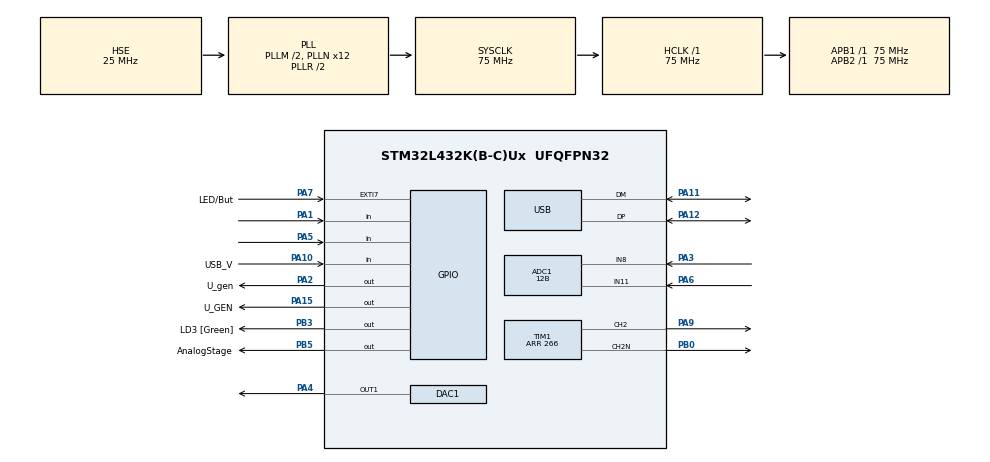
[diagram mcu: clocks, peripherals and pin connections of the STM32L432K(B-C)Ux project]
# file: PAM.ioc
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ADC1.ClockPrescaler=ADC_CLOCK_SYNC_PCLK_DIV4
ADC1.ContinuousConvMode=DISABLE
ADC1.DMAContinuousRequests=DISABLE
ADC1.DataAlign=ADC_DATAALIGN_RIGHT
ADC1.DiscontinuousConvMode=DISABLE
ADC1.EOCSelection=ADC_EOC_SEQ_CONV
ADC1.EnableAnalogWatchDog1=false
ADC1.EnableAnalogWatchDog2=false
ADC1.EnableAnalogWatchDog3=false
ADC1.EnableInjectedConversion=ENABLE
ADC1.EnableInjectedOversampling=DISABLE
ADC1.EnableRegularConversion=DISABLE
ADC1.ExternalTrigInjecConv=ADC_EXTERNALTRIGINJEC_T6_TRGO
ADC1.ExternalTrigInjecConvEdge=ADC_EXTERNALTRIGINJECCONV_EDGE_RISING
ADC1.InjNumberOfConversion=2
ADC1.InjectedChannel-1\#ChannelInjectedConversion=ADC_CHANNEL_8
ADC1.InjectedChannel-2\#ChannelInjectedConversion=ADC_CHANNEL_11
ADC1.InjectedConvMode=None
ADC1.InjectedOffsetNumber-1\#ChannelInjectedConversion=ADC_OFFSET_NONE
ADC1.InjectedOffsetNumber-2\#ChannelInjectedConversion=ADC_OFFSET_NONE
ADC1.InjectedQueue=DISABLE
ADC1.InjectedRank-1\#ChannelInjectedConversion=1
ADC1.InjectedRank-2\#ChannelInjectedConversion=2
ADC1.InjectedSamplingTime-1\#ChannelInjectedConversion=ADC_SAMPLETIME_24CYCLES_5
ADC1.InjectedSamplingTime-2\#ChannelInjectedConversion=ADC_SAMPLETIME_24CYCLES_5
ADC1.LowPowerAutoWait=DISABLE
ADC1.Overrun=ADC_OVR_DATA_PRESERVED
ADC1.OversamplingMode=DISABLE
ADC1.QueueInjectedContext=DISABLE
ADC1.Resolution=ADC_RESOLUTION_12B
ADC1.ScanConvMode=ADC_SCAN_ENABLE
ADC1.master=1
Dma.MEMTOMEM.0.Direction=DMA_MEMORY_TO_MEMORY
Dma.MEMTOMEM.0.Instance=DMA1_Channel1
Dma.MEMTOMEM.0.MemDataAlignment=DMA_MDATAALIGN_WORD
Dma.MEMTOMEM.0.MemInc=DMA_MINC_ENABLE
Dma.MEMTOMEM.0.Mode=DMA_NORMAL
Dma.MEMTOMEM.0.PeriphDataAlignment=DMA_PDATAALIGN_WORD
Dma.MEMTOMEM.0.PeriphInc=DMA_PINC_ENABLE
Dma.MEMTOMEM.0.Priority=DMA_PRIORITY_HIGH
Dma.MEMTOMEM.1.Direction=DMA_MEMORY_TO_MEMORY
Dma.MEMTOMEM.1.Instance=DMA1_Channel2
Dma.MEMTOMEM.1.MemDataAlignment=DMA_MDATAALIGN_WORD
Dma.MEMTOMEM.1.MemInc=DMA_MINC_ENABLE
Dma.MEMTOMEM.1.Mode=DMA_NORMAL
Dma.MEMTOMEM.1.PeriphDataAlignment=DMA_PDATAALIGN_WORD
Dma.MEMTOMEM.1.PeriphInc=DMA_PINC_ENABLE
Dma.MEMTOMEM.1.Priority=DMA_PRIORITY_HIGH
Dma.Request0=MEMTOMEM
Dma.Request1=MEMTOMEM
Mcu.Family=STM32L4
Mcu.Name=STM32L432K(B-C)Ux
Mcu.Package=UFQFPN32
NVIC.ADC1_IRQn=true\:5\:0\:true\:false\:true\:true
NVIC.EXTI9_5_IRQn=true\:0\:0\:false\:false\:true\:true
NVIC.PriorityGroup=NVIC_PRIORITYGROUP_4
NVIC.RTC_Alarm_IRQn=true\:7\:0\:true\:false\:true\:true
NVIC.TIM1_BRK_TIM15_IRQn=true\:0\:0\:true\:false\:true\:true
NVIC.TIM6_DAC_IRQn=true\:6\:0\:true\:false\:true\:true
NVIC.TIM7_IRQn=true\:0\:0\:true\:false\:true\:true
NVIC.TimeBase=TIM7_IRQn
NVIC.TimeBaseIP=TIM7
NVIC.USB_IRQn=true\:7\:0\:true\:false\:true\:true
PA0.GPIO_Label=MCO [High speed clock in]
PA0.Mode=HSE-External-Clock-Source-for-LittleOrca
PA0.Signal=RCC_CK_IN
PA1.Signal=GPIO_Input
PA10.GPIO_Label=USB_V
PA10.GPIO_PuPd=GPIO_PULLDOWN
PA10.Signal=GPIO_Input
PA11.Mode=Device
PA11.Signal=USB_DM
PA12.Mode=Device
PA12.Signal=USB_DP
PA13\ (JTMS-SWDIO).GPIO_Label=SWDIO
PA13\ (JTMS-SWDIO).Mode=Serial_Wire
PA13\ (JTMS-SWDIO).Signal=SYS_JTMS-SWDIO
PA14\ (JTCK-SWCLK).GPIO_Label=SWCLK
PA14\ (JTCK-SWCLK).Mode=Serial_Wire
PA14\ (JTCK-SWCLK).Signal=SYS_JTCK-SWCLK
PA15\ (JTDI).GPIO_Label=U_GEN
PA15\ (JTDI).GPIO_Speed=GPIO_SPEED_FREQ_VERY_HIGH
PA15\ (JTDI).Signal=GPIO_Output
PA2.GPIO_Label=U_gen
PA2.PinState=GPIO_PIN_SET
PA2.Signal=GPIO_Output
PA3.Signal=ADCx_IN8
PA4.Signal=COMP_DAC11_group
PA5.Signal=GPIO_Input
PA6.Signal=ADCx_IN11
PA7.GPIO_Label=LED/But
PA7.GPIO_ModeDefaultEXTI=GPIO_MODE_IT_FALLING
PA7.GPIO_PuPd=GPIO_PULLUP
PA7.Signal=GPXTI7
PA9.GPIO_Speed=GPIO_SPEED_FREQ_VERY_HIGH
PA9.Signal=S_TIM1_CH2
PB0.GPIO_Speed=GPIO_SPEED_FREQ_VERY_HIGH
PB0.Mode=PWM Generation2 CH2 CH2N
PB0.Signal=TIM1_CH2N
PB3\ (JTDO-TRACESWO).GPIO_Label=LD3 [Green]
PB3\ (JTDO-TRACESWO).GPIO_Speed=GPIO_SPEED_FREQ_VERY_HIGH
PB3\ (JTDO-TRACESWO).Signal=GPIO_Output
PB5.GPIO_Label=AnalogStage
PB5.Signal=GPIO_Output
PC14-OSC32_IN\ (PC14).Signal=RCC_OSC32_IN
PC15-OSC32_OUT\ (PC15).Signal=RCC_OSC32_OUT
ProjectManager.HeapSize=0x200
ProjectManager.StackSize=0x200
ProjectManager.TargetToolchain=MDK-ARM V5
RCC.ADCCLockSelection=RCC_ADCCLKSOURCE_SYSCLK
RCC.ADCFreq_Value=75000000
RCC.AHBFreq_Value=75000000
RCC.APB1Freq_Value=75000000
RCC.APB1TimFreq_Value=75000000
RCC.APB2Freq_Value=75000000
RCC.APB2TimFreq_Value=75000000
RCC.CK48CLockSelection=RCC_USBCLKSOURCE_HSI48
RCC.CortexFreq_Value=75000000
RCC.HCLKFreq_Value=75000000
RCC.HSE_VALUE=25000000
RCC.HSI16_VALUE=16000000
RCC.HSI48_VALUE=48000000
RCC.HSI_VALUE=16000000
RCC.LSE_VALUE=32768
RCC.MSI_VALUE=4000000
RCC.PLLM=2
RCC.PLLMUL=RCC_PLLMUL_4
RCC.PLLN=12
RCC.PLLSourceVirtual=RCC_PLLSOURCE_HSE
RCC.RCC_MCODiv=RCC_MCODIV_16
RCC.RTCClockSelection=RCC_RTCCLKSOURCE_HSE_DIV32
RCC.SYSCLKFreq_VALUE=75000000
RCC.SYSCLKSource=RCC_SYSCLKSOURCE_PLLCLK
RCC.USBFreq_Value=48000000
RCC.VCOOutputFreq_Value=150000000
RTC.Alarm=RTC_ALARM_A
RTC.AsynchPrediv=124
RTC.Format=RTC_FORMAT_BCD
RTC.Month=RTC_MONTH_JANUARY
RTC.StoreOperation=RTC_STOREOPERATION_SET
RTC.SynchPrediv=6249
RTC.Year=0
SH.ADCx_IN11.0=ADC1_IN11,IN11-Single-Ended
SH.ADCx_IN8.0=ADC1_IN8,IN8-Single-Ended
SH.COMP_DAC11_group.0=DAC1_OUT1,DAC_OUT1
SH.S_TIM1_CH2.0=TIM1_CH2,PWM Generation2 CH2 CH2N
TIM1.AutomaticOutput=TIM_AUTOMATICOUTPUT_DISABLE
TIM1.Channel-PWM\ Generation2\ CH2\ CH2N=TIM_CHANNEL_2
TIM1.DeadTime=2
TIM1.OCIdleState_2=TIM_OCIDLESTATE_RESET
TIM1.Period=266
TIM1.Pulse-PWM\ Generation2\ CH2\ CH2N=133
TIM6.Period=2499
TIM6.TIM_MasterOutputTrigger=TIM_TRGO_UPDATE
USB.battery_charging_enable=DISABLE
USB_DEVICE.CLASS_NAME_FS=CDC
USB_DEVICE.VirtualMode=Cdc
USB_DEVICE.VirtualModeFS=Cdc_FS
VP_IWDG_VS_IWDG.Mode=IWDG_Activate
VP_RTC_VS_RTC_Activate.Mode=RTC_Enabled
VP_RTC_VS_RTC_Alarm_A_Intern.Mode=Alarm A
VP_RTC_VS_RTC_Calendar.Mode=RTC_Calendar
VP_SYS_VS_tim7.Mode=TIM7
VP_TIM1_VS_ClockSourceINT.Mode=Internal
VP_TIM6_VS_ClockSourceINT.Mode=Enable_Timer
VP_USB_DEVICE_VS_USB_DEVICE_CDC_FS.Mode=CDC_FS
board=NUCLEO-L432KC

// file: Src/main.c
/**
  ******************************************************************************
  * @file           : main.c
  * @brief          : Main program body
  ******************************************************************************
  * This notice applies to any and all portions of this file
  * that are not between comment pairs USER CODE BEGIN and
  * USER CODE END. Other portions of this file, whether
  * inserted by the user or by software development tools
  * are owned by their respective copyright owners.
  *
  * Copyright (c) 2018 STMicroelectronics International N.V.
  * All rights reserved.
  *
  * Redistribution and use in source and binary forms, with or without
  * modification, are permitted, provided that the following conditions are met:
  *
  * 1. Redistribution of source code must retain the above copyright notice,
  *    this list of conditions and the following disclaimer.
  * 2. Redistributions in binary form must reproduce the above copyright notice,
  *    this list of conditions and the following disclaimer in the documentation
  *    and/or other materials provided with the distribution.
  * 3. Neither the name of STMicroelectronics nor the names of other
  *    contributors to this software may be used to endorse or promote products
  *    derived from this software without specific written permission.
  * 4. This software, including modifications and/or derivative works of this
  *    software, must execute solely and exclusively on microcontroller or
  *    microprocessor devices manufactured by or for STMicroelectronics.
  * 5. Redistribution and use of this software other than as permitted under
  *    this license is void and will automatically terminate your rights under
  *    this license.
  *
  * THIS SOFTWARE IS PROVIDED BY STMICROELECTRONICS AND CONTRIBUTORS "AS IS"
  * AND ANY EXPRESS, IMPLIED OR STATUTORY WARRANTIES, INCLUDING, BUT NOT
  * LIMITED TO, THE IMPLIED WARRANTIES OF MERCHANTABILITY, FITNESS FOR A
  * PARTICULAR PURPOSE AND NON-INFRINGEMENT OF THIRD PARTY INTELLECTUAL PROPERTY
  * RIGHTS ARE DISCLAIMED TO THE FULLEST EXTENT PERMITTED BY LAW. IN NO EVENT
  * SHALL STMICROELECTRONICS OR CONTRIBUTORS BE LIABLE FOR ANY DIRECT, INDIRECT,
  * INCIDENTAL, SPECIAL, EXEMPLARY, OR CONSEQUENTIAL DAMAGES (INCLUDING, BUT NOT
  * LIMITED TO, PROCUREMENT OF SUBSTITUTE GOODS OR SERVICES; LOSS OF USE, DATA,
  * OR PROFITS; OR BUSINESS INTERRUPTION) HOWEVER CAUSED AND ON ANY THEORY OF
  * LIABILITY, WHETHER IN CONTRACT, STRICT LIABILITY, OR TORT (INCLUDING
  * NEGLIGENCE OR OTHERWISE) ARISING IN ANY WAY OUT OF THE USE OF THIS SOFTWARE,
  * EVEN IF ADVISED OF THE POSSIBILITY OF SUCH DAMAGE.
  *
  ******************************************************************************
  */
#include "main.h"
#include "stm32l4xx_hal.h"
#include "usb_device.h"

/* USER CODE BEGIN Includes */
#include "cmsis_os2.h"                   // ARM::CMSIS:RTOS:FreeRTOS

/* USER CODE END Includes */

ADC_HandleTypeDef hadc1;

DAC_HandleTypeDef hdac1;

IWDG_HandleTypeDef hiwdg;

RTC_HandleTypeDef hrtc;

TIM_HandleTypeDef htim1;
TIM_HandleTypeDef htim6;

DMA_HandleTypeDef hdma_memtomem_dma1_channel1;
DMA_HandleTypeDef hdma_memtomem_dma1_channel2;

/* USER CODE BEGIN PV */
/* Private variables ---------------------------------------------------------*/
osThreadId_t defaultTaskHandle;
osThreadId_t Mode1Handle;
osThreadId_t Mode2Handle;
osThreadId_t ModeRxTxHandle;
osThreadId_t LedToggleHandle;
osThreadId_t ButtonThreadHandle;
//osThreadId_t iwdgThreadHandle;
osSemaphoreId_t rtcIRQHandle;
osSemaphoreId_t adcHandle;
osSemaphoreId_t ButtonHandle;
osMessageQueueId_t  adcQueueHandle;

void StartDefaultTask(void * argument);
void eMode1(void * argument);
void eMode2(void * argument);
void eModeRxTx(void * argument);
void eLedToggle(void * argument);
void eButtonThread(void * argument);
void iwdgThread(void * argument);
/* USER CODE END PV */

void SystemClock_Config(void);
static void MX_GPIO_Init(void);
static void MX_DMA_Init(void);
void MX_ADC1_Init(void);
void MX_TIM1_Init(void);
void MX_RTC_Init(void);
void MX_TIM6_Init(void);
void MX_DAC1_Init(void);
void MX_IWDG_Init(void);

void HAL_TIM_MspPostInit(TIM_HandleTypeDef *htim);

/* USER CODE BEGIN PFP */
/* Private function prototypes -----------------------------------------------*/

/* USER CODE END PFP */

int main(void)
{
  /* USER CODE BEGIN 1 */
  //EventRecorderInitialize (EventRecordAll, 1);  // initialize and start Event Recorder
  MX_GPIO_Init();
  /* USER CODE END 1 */

  /* MCU Configuration----------------------------------------------------------*/

  /* Reset of all peripherals, Initializes the Flash interface and the Systick. */
  HAL_Init();

  /* Configure the system clock */
  SystemClock_Config();

  /* Initialize all configured peripherals */
  MX_GPIO_Init();
  MX_DMA_Init();
  MX_ADC1_Init();
  MX_TIM1_Init();
  MX_RTC_Init();
  MX_TIM6_Init();
  MX_DAC1_Init();
  //MX_IWDG_Init();
  /* USER CODE BEGIN 2 */
  osKernelInitialize();
  osThreadAttr_t worker_attr;
  memset(&worker_attr, 0, sizeof(worker_attr));
  worker_attr.stack_size = 800;
  osSemaphoreAttr_t sematr;
  memset(&sematr, 0, sizeof(sematr));

  defaultTaskHandle = osThreadNew(StartDefaultTask, NULL, &worker_attr);
  worker_attr.priority = osPriorityHigh ;
  Mode1Handle = osThreadNew(eMode1, NULL, &worker_attr);
  Mode2Handle = osThreadNew(eMode2, NULL, &worker_attr);
  ModeRxTxHandle = osThreadNew(eModeRxTx, NULL, &worker_attr);
  LedToggleHandle = osThreadNew(eLedToggle, NULL, &worker_attr);
  ButtonThreadHandle = osThreadNew(eButtonThread, NULL, &worker_attr);
  worker_attr.priority =  osPriorityLow;
  //iwdgThreadHandle = osThreadNew(iwdgThread, NULL, &worker_attr);
  sematr.name = "rtcSem";
  rtcIRQHandle = osSemaphoreNew(1,0,&sematr) ;
  sematr.name = "adcSem";
  adcHandle = osSemaphoreNew(1,0,&sematr);
  sematr.name = "ButtonSem";
  ButtonHandle = osSemaphoreNew(1,0,&sematr);
  adcQueueHandle = osMessageQueueNew(50,sizeof(uint16_t), NULL);
  //__HAL_IWDG_START(&hiwdg);
  HAL_IWDG_Refresh(&hiwdg);
  if (osKernelGetState() == osKernelReady)
  {
    osKernelStart();
  }
  /* USER CODE END 2 */

  /* Infinite loop */
  while (1)
  {

  }

}

void SystemClock_Config(void)
{

  RCC_OscInitTypeDef RCC_OscInitStruct;
  RCC_ClkInitTypeDef RCC_ClkInitStruct;
  RCC_PeriphCLKInitTypeDef PeriphClkInit;

    /**Initializes the CPU, AHB and APB busses clocks
    */
  RCC_OscInitStruct.OscillatorType = RCC_OSCILLATORTYPE_HSI48|RCC_OSCILLATORTYPE_LSI
                              |RCC_OSCILLATORTYPE_HSE;
  RCC_OscInitStruct.HSEState = RCC_HSE_BYPASS;
  RCC_OscInitStruct.HSI48State = RCC_HSI48_ON;
  RCC_OscInitStruct.LSIState = RCC_LSI_ON;
  RCC_OscInitStruct.PLL.PLLState = RCC_PLL_ON;
  RCC_OscInitStruct.PLL.PLLSource = RCC_PLLSOURCE_HSE;
  RCC_OscInitStruct.PLL.PLLM = 2;
  RCC_OscInitStruct.PLL.PLLN = 12;
  RCC_OscInitStruct.PLL.PLLP = RCC_PLLP_DIV7;
  RCC_OscInitStruct.PLL.PLLQ = RCC_PLLQ_DIV2;
  RCC_OscInitStruct.PLL.PLLR = RCC_PLLR_DIV2;
  if (HAL_RCC_OscConfig(&RCC_OscInitStruct) != HAL_OK)
  {
    _Error_Handler(__FILE__, __LINE__);
  }

    /**Initializes the CPU, AHB and APB busses clocks
    */
  RCC_ClkInitStruct.ClockType = RCC_CLOCKTYPE_HCLK|RCC_CLOCKTYPE_SYSCLK
                              |RCC_CLOCKTYPE_PCLK1|RCC_CLOCKTYPE_PCLK2;
  RCC_ClkInitStruct.SYSCLKSource = RCC_SYSCLKSOURCE_PLLCLK;
  RCC_ClkInitStruct.AHBCLKDivider = RCC_SYSCLK_DIV1;
  RCC_ClkInitStruct.APB1CLKDivider = RCC_HCLK_DIV1;
  RCC_ClkInitStruct.APB2CLKDivider = RCC_HCLK_DIV1;

  if (HAL_RCC_ClockConfig(&RCC_ClkInitStruct, FLASH_LATENCY_4) != HAL_OK)
  {
    _Error_Handler(__FILE__, __LINE__);
  }

  PeriphClkInit.PeriphClockSelection = RCC_PERIPHCLK_RTC|RCC_PERIPHCLK_USB
                              |RCC_PERIPHCLK_ADC;
  PeriphClkInit.AdcClockSelection = RCC_ADCCLKSOURCE_SYSCLK;
  PeriphClkInit.RTCClockSelection = RCC_RTCCLKSOURCE_HSE_DIV32;
  PeriphClkInit.UsbClockSelection = RCC_USBCLKSOURCE_HSI48;
  if (HAL_RCCEx_PeriphCLKConfig(&PeriphClkInit) != HAL_OK)
  {
    _Error_Handler(__FILE__, __LINE__);
  }

    /**Configure the main internal regulator output voltage
    */
  if (HAL_PWREx_ControlVoltageScaling(PWR_REGULATOR_VOLTAGE_SCALE1) != HAL_OK)
  {
    _Error_Handler(__FILE__, __LINE__);
  }

    /**Configure the Systick interrupt time
    */
  HAL_SYSTICK_Config(HAL_RCC_GetHCLKFreq()/1000);

    /**Configure the Systick
    */
  HAL_SYSTICK_CLKSourceConfig(SYSTICK_CLKSOURCE_HCLK);

  /* SysTick_IRQn interrupt configuration */
  HAL_NVIC_SetPriority(SysTick_IRQn, 15, 0);
}

/* ADC1 init function */
void MX_ADC1_Init(void)
{

  ADC_InjectionConfTypeDef sConfigInjected;

    /**Common config
    */
  hadc1.Instance = ADC1;
  hadc1.Init.ClockPrescaler = ADC_CLOCK_SYNC_PCLK_DIV4;
  hadc1.Init.Resolution = ADC_RESOLUTION_12B;
  hadc1.Init.DataAlign = ADC_DATAALIGN_RIGHT;
  hadc1.Init.ScanConvMode = ADC_SCAN_ENABLE;
  hadc1.Init.EOCSelection = ADC_EOC_SEQ_CONV;
  hadc1.Init.LowPowerAutoWait = DISABLE;
  hadc1.Init.ContinuousConvMode = DISABLE;
  hadc1.Init.NbrOfConversion = 1;
  hadc1.Init.DiscontinuousConvMode = DISABLE;
  hadc1.Init.NbrOfDiscConversion = 1;
  hadc1.Init.DMAContinuousRequests = DISABLE;
  hadc1.Init.Overrun = ADC_OVR_DATA_PRESERVED;
  hadc1.Init.OversamplingMode = DISABLE;
  if (HAL_ADC_Init(&hadc1) != HAL_OK)
  {
    _Error_Handler(__FILE__, __LINE__);
  }

    /**Configure Injected Channel
    */
  sConfigInjected.InjectedChannel = ADC_CHANNEL_8;
  sConfigInjected.InjectedRank = ADC_INJECTED_RANK_1;
  sConfigInjected.InjectedSamplingTime = ADC_SAMPLETIME_24CYCLES_5;
  sConfigInjected.InjectedSingleDiff = ADC_SINGLE_ENDED;
  sConfigInjected.InjectedOffsetNumber = ADC_OFFSET_NONE;
  sConfigInjected.InjectedOffset = 0;
  sConfigInjected.InjectedNbrOfConversion = 2;
  sConfigInjected.InjectedDiscontinuousConvMode = DISABLE;
  sConfigInjected.AutoInjectedConv = DISABLE;
  sConfigInjected.QueueInjectedContext = DISABLE;
  sConfigInjected.ExternalTrigInjecConv = ADC_EXTERNALTRIGINJEC_T6_TRGO;
  sConfigInjected.ExternalTrigInjecConvEdge = ADC_EXTERNALTRIGINJECCONV_EDGE_RISING;
  sConfigInjected.InjecOversamplingMode = DISABLE;
  if (HAL_ADCEx_InjectedConfigChannel(&hadc1, &sConfigInjected) != HAL_OK)
  {
    _Error_Handler(__FILE__, __LINE__);
  }

    /**Configure Injected Channel
    */
  sConfigInjected.InjectedChannel = ADC_CHANNEL_11;
  sConfigInjected.InjectedRank = ADC_INJECTED_RANK_2;
  if (HAL_ADCEx_InjectedConfigChannel(&hadc1, &sConfigInjected) != HAL_OK)
  {
    _Error_Handler(__FILE__, __LINE__);
  }

}

/* DAC1 init function */
void MX_DAC1_Init(void)
{

  DAC_ChannelConfTypeDef sConfig;

    /**DAC Initialization
    */
  hdac1.Instance = DAC1;
  if (HAL_DAC_Init(&hdac1) != HAL_OK)
  {
    _Error_Handler(__FILE__, __LINE__);
  }

    /**DAC channel OUT1 config
    */
  sConfig.DAC_SampleAndHold = DAC_SAMPLEANDHOLD_DISABLE;
  sConfig.DAC_Trigger = DAC_TRIGGER_NONE;
  sConfig.DAC_OutputBuffer = DAC_OUTPUTBUFFER_ENABLE;
  sConfig.DAC_ConnectOnChipPeripheral = DAC_CHIPCONNECT_DISABLE;
  sConfig.DAC_UserTrimming = DAC_TRIMMING_FACTORY;
  if (HAL_DAC_ConfigChannel(&hdac1, &sConfig, DAC_CHANNEL_1) != HAL_OK)
  {
    _Error_Handler(__FILE__, __LINE__);
  }

}

/* IWDG init function */
void MX_IWDG_Init(void)
{

  hiwdg.Instance = IWDG;
  hiwdg.Init.Prescaler = IWDG_PRESCALER_4;
  hiwdg.Init.Window = 4095;
  hiwdg.Init.Reload = 4095;
  if (HAL_IWDG_Init(&hiwdg) != HAL_OK)
  {
    _Error_Handler(__FILE__, __LINE__);
  }

}

/* RTC init function */
void MX_RTC_Init(void)
{

  RTC_TimeTypeDef sTime;
  RTC_DateTypeDef sDate;
  RTC_AlarmTypeDef sAlarm;

    /**Initialize RTC Only
    */
  hrtc.Instance = RTC;
  hrtc.Init.HourFormat = RTC_HOURFORMAT_24;
  hrtc.Init.AsynchPrediv = 124;
  hrtc.Init.SynchPrediv = 6249;
  hrtc.Init.OutPut = RTC_OUTPUT_DISABLE;
  hrtc.Init.OutPutRemap = RTC_OUTPUT_REMAP_NONE;
  hrtc.Init.OutPutPolarity = RTC_OUTPUT_POLARITY_HIGH;
  hrtc.Init.OutPutType = RTC_OUTPUT_TYPE_OPENDRAIN;
  if (HAL_RTC_Init(&hrtc) != HAL_OK)
  {
    _Error_Handler(__FILE__, __LINE__);
  }

    /**Initialize RTC and set the Time and Date
    */
  sTime.Hours = 0x0;
  sTime.Minutes = 0x0;
  sTime.Seconds = 0x0;
  sTime.DayLightSaving = RTC_DAYLIGHTSAVING_NONE;
  sTime.StoreOperation = RTC_STOREOPERATION_SET;
  if (HAL_RTC_SetTime(&hrtc, &sTime, RTC_FORMAT_BCD) != HAL_OK)
  {
    _Error_Handler(__FILE__, __LINE__);
  }

  sDate.WeekDay = RTC_WEEKDAY_MONDAY;
  sDate.Month = RTC_MONTH_JANUARY;
  sDate.Date = 0x1;
  sDate.Year = 0x0;

  if (HAL_RTC_SetDate(&hrtc, &sDate, RTC_FORMAT_BCD) != HAL_OK)
  {
    _Error_Handler(__FILE__, __LINE__);
  }

    /**Enable the Alarm A
    */
  sAlarm.AlarmTime.Hours = 0x0;
  sAlarm.AlarmTime.Minutes = 0x0;
  sAlarm.AlarmTime.Seconds = 0x0;
  sAlarm.AlarmTime.SubSeconds = 0x0;
  sAlarm.AlarmTime.DayLightSaving = RTC_DAYLIGHTSAVING_NONE;
  sAlarm.AlarmTime.StoreOperation = RTC_STOREOPERATION_SET;
  sAlarm.AlarmMask = RTC_ALARMMASK_NONE;
  sAlarm.AlarmSubSecondMask = RTC_ALARMSUBSECONDMASK_ALL;
  sAlarm.AlarmDateWeekDaySel = RTC_ALARMDATEWEEKDAYSEL_DATE;
  sAlarm.AlarmDateWeekDay = 0x1;
  sAlarm.Alarm = RTC_ALARM_A;
  if (HAL_RTC_SetAlarm_IT(&hrtc, &sAlarm, RTC_FORMAT_BCD) != HAL_OK)
  {
    _Error_Handler(__FILE__, __LINE__);
  }

}

/* TIM1 init function */
void MX_TIM1_Init(void)
{

  TIM_ClockConfigTypeDef sClockSourceConfig;
  TIM_MasterConfigTypeDef sMasterConfig;
  TIM_OC_InitTypeDef sConfigOC;
  TIM_BreakDeadTimeConfigTypeDef sBreakDeadTimeConfig;

  htim1.Instance = TIM1;
  htim1.Init.Prescaler = 0;
  htim1.Init.CounterMode = TIM_COUNTERMODE_UP;
  htim1.Init.Period = 266;
  htim1.Init.ClockDivision = TIM_CLOCKDIVISION_DIV1;
  htim1.Init.RepetitionCounter = 0;
  htim1.Init.AutoReloadPreload = TIM_AUTORELOAD_PRELOAD_DISABLE;
  if (HAL_TIM_Base_Init(&htim1) != HAL_OK)
  {
    _Error_Handler(__FILE__, __LINE__);
  }

  sClockSourceConfig.ClockSource = TIM_CLOCKSOURCE_INTERNAL;
  if (HAL_TIM_ConfigClockSource(&htim1, &sClockSourceConfig) != HAL_OK)
  {
    _Error_Handler(__FILE__, __LINE__);
  }

  if (HAL_TIM_PWM_Init(&htim1) != HAL_OK)
  {
    _Error_Handler(__FILE__, __LINE__);
  }

  sMasterConfig.MasterOutputTrigger = TIM_TRGO_RESET;
  sMasterConfig.MasterOutputTrigger2 = TIM_TRGO2_RESET;
  sMasterConfig.MasterSlaveMode = TIM_MASTERSLAVEMODE_DISABLE;
  if (HAL_TIMEx_MasterConfigSynchronization(&htim1, &sMasterConfig) != HAL_OK)
  {
    _Error_Handler(__FILE__, __LINE__);
  }

  sConfigOC.OCMode = TIM_OCMODE_PWM1;
  sConfigOC.Pulse = 133;
  sConfigOC.OCPolarity = TIM_OCPOLARITY_HIGH;
  sConfigOC.OCNPolarity = TIM_OCNPOLARITY_HIGH;
  sConfigOC.OCFastMode = TIM_OCFAST_DISABLE;
  sConfigOC.OCIdleState = TIM_OCIDLESTATE_RESET;
  sConfigOC.OCNIdleState = TIM_OCNIDLESTATE_RESET;
  if (HAL_TIM_PWM_ConfigChannel(&htim1, &sConfigOC, TIM_CHANNEL_2) != HAL_OK)
  {
    _Error_Handler(__FILE__, __LINE__);
  }

  sBreakDeadTimeConfig.OffStateRunMode = TIM_OSSR_DISABLE;
  sBreakDeadTimeConfig.OffStateIDLEMode = TIM_OSSI_DISABLE;
  sBreakDeadTimeConfig.LockLevel = TIM_LOCKLEVEL_OFF;
  sBreakDeadTimeConfig.DeadTime = 2;
  sBreakDeadTimeConfig.BreakState = TIM_BREAK_DISABLE;
  sBreakDeadTimeConfig.BreakPolarity = TIM_BREAKPOLARITY_HIGH;
  sBreakDeadTimeConfig.BreakFilter = 0;
  sBreakDeadTimeConfig.Break2State = TIM_BREAK2_DISABLE;
  sBreakDeadTimeConfig.Break2Polarity = TIM_BREAK2POLARITY_HIGH;
  sBreakDeadTimeConfig.Break2Filter = 0;
  sBreakDeadTimeConfig.AutomaticOutput = TIM_AUTOMATICOUTPUT_DISABLE;
  if (HAL_TIMEx_ConfigBreakDeadTime(&htim1, &sBreakDeadTimeConfig) != HAL_OK)
  {
    _Error_Handler(__FILE__, __LINE__);
  }

  HAL_TIM_MspPostInit(&htim1);

}

/* TIM6 init function */
void MX_TIM6_Init(void)
{

  TIM_MasterConfigTypeDef sMasterConfig;

  htim6.Instance = TIM6;
  htim6.Init.Prescaler = 0;
  htim6.Init.CounterMode = TIM_COUNTERMODE_UP;
  htim6.Init.Period = 2499;
  htim6.Init.AutoReloadPreload = TIM_AUTORELOAD_PRELOAD_DISABLE;
  if (HAL_TIM_Base_Init(&htim6) != HAL_OK)
  {
    _Error_Handler(__FILE__, __LINE__);
  }

  sMasterConfig.MasterOutputTrigger = TIM_TRGO_UPDATE;
  sMasterConfig.MasterSlaveMode = TIM_MASTERSLAVEMODE_DISABLE;
  if (HAL_TIMEx_MasterConfigSynchronization(&htim6, &sMasterConfig) != HAL_OK)
  {
    _Error_Handler(__FILE__, __LINE__);
  }

}

static void MX_DMA_Init(void)
{
  /* DMA controller clock enable */
  __HAL_RCC_DMA1_CLK_ENABLE();

  /* Configure DMA request hdma_memtomem_dma1_channel1 on DMA1_Channel1 */
  hdma_memtomem_dma1_channel1.Instance = DMA1_Channel1;
  hdma_memtomem_dma1_channel1.Init.Request = DMA_REQUEST_0;
  hdma_memtomem_dma1_channel1.Init.Direction = DMA_MEMORY_TO_MEMORY;
  hdma_memtomem_dma1_channel1.Init.PeriphInc = DMA_PINC_ENABLE;
  hdma_memtomem_dma1_channel1.Init.MemInc = DMA_MINC_ENABLE;
  hdma_memtomem_dma1_channel1.Init.PeriphDataAlignment = DMA_PDATAALIGN_WORD;
  hdma_memtomem_dma1_channel1.Init.MemDataAlignment = DMA_MDATAALIGN_WORD;
  hdma_memtomem_dma1_channel1.Init.Mode = DMA_NORMAL;
  hdma_memtomem_dma1_channel1.Init.Priority = DMA_PRIORITY_HIGH;
  if (HAL_DMA_Init(&hdma_memtomem_dma1_channel1) != HAL_OK)
  {
    _Error_Handler(__FILE__, __LINE__);
  }

  /* Configure DMA request hdma_memtomem_dma1_channel2 on DMA1_Channel2 */
  hdma_memtomem_dma1_channel2.Instance = DMA1_Channel2;
  hdma_memtomem_dma1_channel2.Init.Request = DMA_REQUEST_0;
  hdma_memtomem_dma1_channel2.Init.Direction = DMA_MEMORY_TO_MEMORY;
  hdma_memtomem_dma1_channel2.Init.PeriphInc = DMA_PINC_ENABLE;
  hdma_memtomem_dma1_channel2.Init.MemInc = DMA_MINC_ENABLE;
  hdma_memtomem_dma1_channel2.Init.PeriphDataAlignment = DMA_PDATAALIGN_WORD;
  hdma_memtomem_dma1_channel2.Init.MemDataAlignment = DMA_MDATAALIGN_WORD;
  hdma_memtomem_dma1_channel2.Init.Mode = DMA_NORMAL;
  hdma_memtomem_dma1_channel2.Init.Priority = DMA_PRIORITY_HIGH;
  if (HAL_DMA_Init(&hdma_memtomem_dma1_channel2) != HAL_OK)
  {
    _Error_Handler(__FILE__, __LINE__);
  }

}

/** Configure pins as
        * Analog
        * Input
        * Output
        * EVENT_OUT
        * EXTI
*/
static void MX_GPIO_Init(void)
{

  GPIO_InitTypeDef GPIO_InitStruct;

  /* GPIO Ports Clock Enable */
  __HAL_RCC_GPIOC_CLK_ENABLE();
  __HAL_RCC_GPIOA_CLK_ENABLE();
  __HAL_RCC_GPIOB_CLK_ENABLE();

  /*Configure GPIO pin Output Level */
  HAL_GPIO_WritePin(U_gen_GPIO_Port, U_gen_Pin, GPIO_PIN_SET);

  /*Configure GPIO pin Output Level */
  HAL_GPIO_WritePin(U_GEN_GPIO_Port, U_GEN_Pin, GPIO_PIN_RESET);

  /*Configure GPIO pin Output Level */
  HAL_GPIO_WritePin(GPIOB, LD3_Pin|AnalogStage_Pin, GPIO_PIN_RESET);

  /*Configure GPIO pins : PA1 PA5 */
  GPIO_InitStruct.Pin = GPIO_PIN_1|GPIO_PIN_5;
  GPIO_InitStruct.Mode = GPIO_MODE_INPUT;
  GPIO_InitStruct.Pull = GPIO_NOPULL;
  HAL_GPIO_Init(GPIOA, &GPIO_InitStruct);

  /*Configure GPIO pin : U_gen_Pin */
  GPIO_InitStruct.Pin = U_gen_Pin;
  GPIO_InitStruct.Mode = GPIO_MODE_OUTPUT_PP;
  GPIO_InitStruct.Pull = GPIO_NOPULL;
  GPIO_InitStruct.Speed = GPIO_SPEED_FREQ_LOW;
  HAL_GPIO_Init(U_gen_GPIO_Port, &GPIO_InitStruct);

  /*Configure GPIO pin : LED_But_Pin */
  GPIO_InitStruct.Pin = LED_But_Pin;
  GPIO_InitStruct.Mode = GPIO_MODE_IT_FALLING;
  GPIO_InitStruct.Pull = GPIO_PULLUP;
  HAL_GPIO_Init(LED_But_GPIO_Port, &GPIO_InitStruct);

  /*Configure GPIO pin : USB_V_Pin */
  GPIO_InitStruct.Pin = USB_V_Pin;
  GPIO_InitStruct.Mode = GPIO_MODE_INPUT;
  GPIO_InitStruct.Pull = GPIO_PULLDOWN;
  HAL_GPIO_Init(USB_V_GPIO_Port, &GPIO_InitStruct);

  /*Configure GPIO pin : U_GEN_Pin */
  GPIO_InitStruct.Pin = U_GEN_Pin;
  GPIO_InitStruct.Mode = GPIO_MODE_OUTPUT_PP;
  GPIO_InitStruct.Pull = GPIO_NOPULL;
  GPIO_InitStruct.Speed = GPIO_SPEED_FREQ_VERY_HIGH;
  HAL_GPIO_Init(U_GEN_GPIO_Port, &GPIO_InitStruct);

  /*Configure GPIO pin : LD3_Pin */
  GPIO_InitStruct.Pin = LD3_Pin;
  GPIO_InitStruct.Mode = GPIO_MODE_OUTPUT_PP;
  GPIO_InitStruct.Pull = GPIO_NOPULL;
  GPIO_InitStruct.Speed = GPIO_SPEED_FREQ_VERY_HIGH;
  HAL_GPIO_Init(LD3_GPIO_Port, &GPIO_InitStruct);

  /*Configure GPIO pin : AnalogStage_Pin */
  GPIO_InitStruct.Pin = AnalogStage_Pin;
  GPIO_InitStruct.Mode = GPIO_MODE_OUTPUT_PP;
  GPIO_InitStruct.Pull = GPIO_NOPULL;
  GPIO_InitStruct.Speed = GPIO_SPEED_FREQ_LOW;
  HAL_GPIO_Init(AnalogStage_GPIO_Port, &GPIO_InitStruct);

  /* EXTI interrupt init*/
  HAL_NVIC_SetPriority(EXTI9_5_IRQn, 0, 0);
  HAL_NVIC_EnableIRQ(EXTI9_5_IRQn);

}

void HAL_TIM_PeriodElapsedCallback(TIM_HandleTypeDef *htim)
{
  if (htim->Instance == TIM7) {
    HAL_IncTick();
  }
}

void _Error_Handler(char *file, int line)
{
  while(1)
  {
  }
}

/************************ (C) COPYRIGHT STMicroelectronics *****END OF FILE****/
